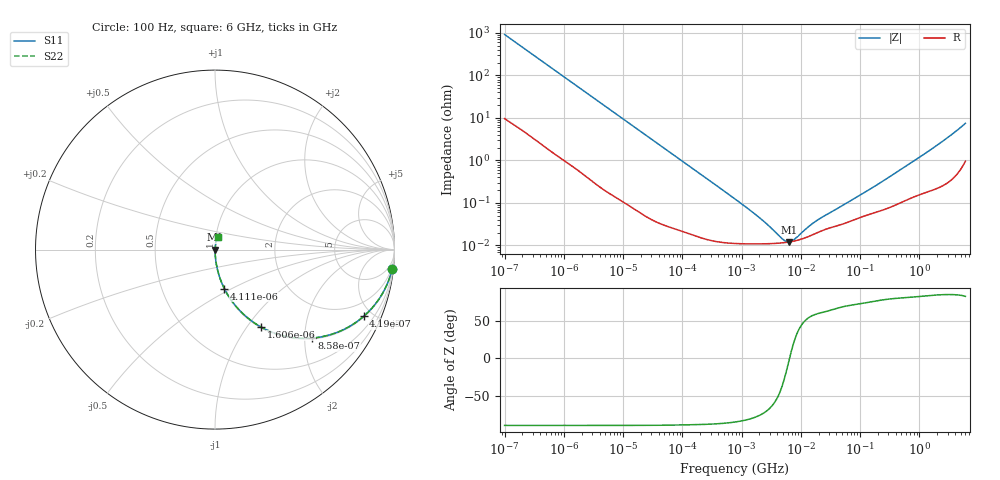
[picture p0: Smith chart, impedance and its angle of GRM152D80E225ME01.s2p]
!Murata Part Number: GRM152D80E225ME01
!These Parameters are Measured in Series Mode Connection
!Data Generated on Mar 30, 2021
!  o--ll--o
!Port1  Port2
!  o------o
!Operation Temp=25[degC], DC Bias Voltage=0[V]
!Freq. Start=100[Hz] Stop=6[GHz] 401[Steps]
# Hz S RI R 50
!Freq.(Hz) S11(Real) S11(Imag) S21(Real) S21(Imag) S12(Real) S12(Imag) S22(Real) S22(Imag)
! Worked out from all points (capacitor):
!   401 points, 100 Hz to 6 GHz, reference 50 ohm
!   read as one part in series: C = 1.73 uF near 109 Hz
!   lowest |Z| = 12.1 mohm at 6.353 MHz (marker M1)
!   series resonance near 6.448 MHz, so ESL is about 350 pH
!   S11 on the Smith chart (normalised r, x): 100 Hz: 1, -18; 419 Hz: 1.05, -4.43; 858 Hz: 1.02, -2.17; 1.606 kHz: 1.01, -1.17; 4.111 kHz: 1.00, -0.46; 6 GHz: 1.02, +0.15
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100  0.9872 -0.1074  0.0128 0.1074  0.0128 0.1074  0.9872 -0.1074
224  0.9423 -0.2278  0.0577 0.2278  0.0577 0.2278  0.9423 -0.2278
419  0.8279 -0.3721  0.1721 0.3721  0.1721 0.3721  0.8279 -0.3721
600  0.7045 -0.451  0.2955 0.451  0.2955 0.451  0.7045 -0.451
858  0.541 -0.493  0.459 0.493  0.459 0.493  0.541 -0.493
1174  0.3891 -0.4821  0.6109 0.4821  0.6109 0.4821  0.3891 -0.4821
1606  0.2561 -0.4311  0.7439 0.4311  0.7439 0.4311  0.2561 -0.4311
2008  0.1817 -0.3803  0.8183 0.3803  0.8183 0.3803  0.1817 -0.3803
2873  0.0992 -0.2937  0.9008 0.2937  0.9008 0.2937  0.0992 -0.2937
4111  0.0519 -0.2167  0.9481 0.2167  0.9481 0.2167  0.0519 -0.2167
11009  0.0083 -0.0853  0.9917 0.0853  0.9917 0.0853  0.0083 -0.0853
40335  0.000894 -0.0236  0.9991 0.0236  0.9991 0.0236  0.000894 -0.0236
774597  0.000113 -0.00124  0.9999 0.00124  0.9999 0.00124  0.000113 -0.00124
2169299  0.000109 -0.000397  0.9999 0.000397  0.9999 0.000397  0.000109 -0.000397
5079039  0.000116 -7.18e-05  0.9999 7.18e-05  0.9999 7.18e-05  0.000116 -7.18e-05
5809218  0.000119 -3.1e-05  0.9999 3.1e-05  0.9999 3.1e-05  0.000119 -3.1e-05
6353432  0.000121 -4.3e-06  0.9999 4.3e-06  0.9999 4.3e-06  0.000121 -4.3e-06
7947587  0.000129 6.18e-05  0.9999 -6.18e-05  0.9999 -6.18e-05  0.000129 6.18e-05
1.555665e7  0.000177 0.000271  0.9998 -0.000271  0.9998 -0.000271  0.000177 0.000271
3.124326e8  0.000792 0.00402  0.9992 -0.00402  0.9992 -0.00402  0.000792 0.00402
1.712697e9  0.0024 0.0195  0.9976 -0.0195  0.9976 -0.0195  0.0024 0.0195
6e9  0.0148 0.0724  0.9852 -0.0724  0.9852 -0.0724  0.0148 0.0724
